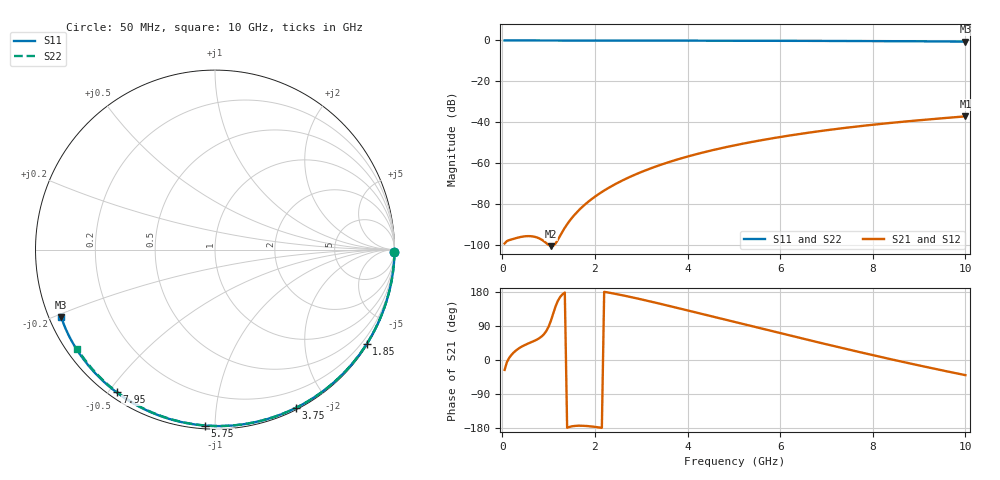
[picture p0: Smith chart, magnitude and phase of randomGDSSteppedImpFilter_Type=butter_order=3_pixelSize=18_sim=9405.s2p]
! freq	dB(S11)	phase(S11)	dB(S12)	phase(S12)
!  dB(S21)	phase(S21)	dB(S22)	phase(S22)
!S-par simulation data
#  GHz  S  DB  R 50
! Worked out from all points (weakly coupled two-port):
!   200 points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, 50 MHz to 10 GHz, reference 50 ohm
!   highest |S21| = -37.10 dB at 10 GHz (marker M1); lowest = -100.5 dB at 1.05 GHz (marker M2)
!   lowest |S11| = -0.6 dB at 10 GHz (marker M3), VSWR 29.96, Z = 1.74 - j10.5 ohm
!   |S11| at or under -10 dB: nowhere
!   |S22| runs from -0.5 to 0.0 dB; largest |S21 - S12| = 0
!   S11 on the Smith chart (normalised r, x): 50 MHz: open; 1.85 GHz: 0.03, -3.50; 3.75 GHz: 0.02, -1.64; 5.75 GHz: 0.02, -0.95; 7.95 GHz: 0.02, -0.52; 10 GHz: 0.03, -0.21
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0.05  -0.00 -0.9  -99.21 -26.2  -99.21 -26.2  -0.00 -0.8
0.55  -0.01 -9.6  -95.60 43.0  -95.60 43.0  -0.01 -9.2
1.05  -0.02 -18.2  -100.52 103.8  -100.52 103.8  -0.02 -17.4
1.75  -0.04 -30.2  -80.87 -173.6  -80.87 -173.6  -0.04 -28.9
1.8  -0.04 -31.0  -79.87 -174.0  -79.87 -174.0  -0.04 -29.7
1.85  -0.04 -31.8  -78.93 -174.4  -78.93 -174.4  -0.04 -30.5
2  -0.04 -34.4  -76.34 -176.4  -76.34 -176.4  -0.04 -32.9
2.15  -0.05 -36.9  -74.04 -179.1  -74.04 -179.1  -0.05 -35.3
2.5  -0.05 -42.7  -69.48 173.1  -69.48 173.1  -0.05 -40.8
2.9  -0.06 -49.2  -65.24 162.8  -65.24 162.8  -0.06 -47.1
3.4  -0.08 -57.3  -60.92 148.6  -60.92 148.6  -0.07 -54.8
3.75  -0.08 -62.9  -58.37 138.3  -58.37 138.3  -0.08 -60.1
4.35  -0.10 -72.2  -54.65 120.3  -54.65 120.3  -0.10 -69.0
5.05  -0.13 -82.8  -51.09 99.2  -51.09 99.2  -0.12 -79.1
5.75  -0.16 -93.2  -48.13 78.2  -48.13 78.2  -0.15 -89.0
6.7  -0.21 -106.9  -44.79 50.2  -44.79 50.2  -0.20 -101.8
7.3  -0.25 -115.4  -43.00 32.8  -43.00 32.8  -0.24 -109.7
7.95  -0.30 -124.6  -41.31 14.3  -41.31 14.3  -0.28 -118.2
8.35  -0.34 -130.3  -40.37 3.1  -40.37 3.1  -0.32 -123.3
9.3  -0.44 -144.3  -38.40 -22.2  -38.40 -22.2  -0.41 -135.4
9.7  -0.51 -150.8  -37.65 -32.4  -37.65 -32.4  -0.45 -140.4
10  -0.58 -156.3  -37.10 -40.0  -37.10 -40.0  -0.49 -144.2
